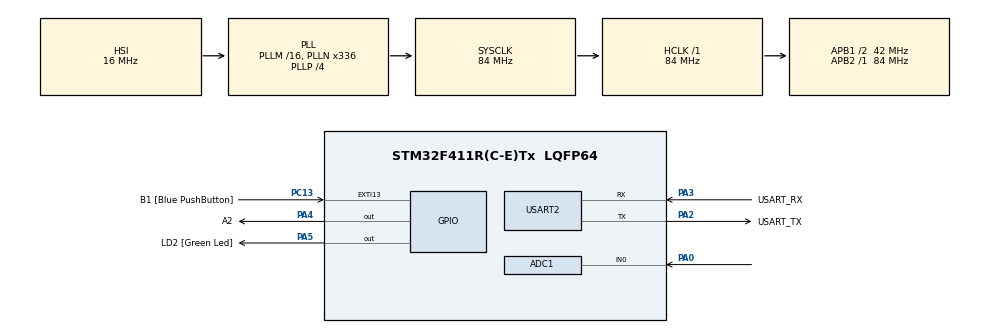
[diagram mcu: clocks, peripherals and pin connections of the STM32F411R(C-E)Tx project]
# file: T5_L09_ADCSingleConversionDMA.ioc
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ADC1.Channel-6\#ChannelRegularConversion=ADC_CHANNEL_0
ADC1.ClockPrescaler=ADC_CLOCK_SYNC_PCLK_DIV4
ADC1.ContinuousConvMode=DISABLE
ADC1.DMAContinuousRequests=ENABLE
ADC1.EOCSelection=ADC_EOC_SINGLE_CONV
ADC1.ExternalTrigConv=ADC_EXTERNALTRIGCONV_T2_TRGO
ADC1.NbrOfConversion=1
ADC1.NbrOfConversionFlag=1
ADC1.Rank-6\#ChannelRegularConversion=1
ADC1.Resolution=ADC_RESOLUTION_8B
ADC1.SamplingTime-6\#ChannelRegularConversion=ADC_SAMPLETIME_3CYCLES
ADC1.master=1
Dma.ADC1.0.Direction=DMA_PERIPH_TO_MEMORY
Dma.ADC1.0.FIFOMode=DMA_FIFOMODE_DISABLE
Dma.ADC1.0.Instance=DMA2_Stream0
Dma.ADC1.0.MemDataAlignment=DMA_MDATAALIGN_BYTE
Dma.ADC1.0.MemInc=DMA_MINC_ENABLE
Dma.ADC1.0.Mode=DMA_NORMAL
Dma.ADC1.0.PeriphDataAlignment=DMA_PDATAALIGN_BYTE
Dma.ADC1.0.PeriphInc=DMA_PINC_DISABLE
Dma.ADC1.0.Priority=DMA_PRIORITY_MEDIUM
Dma.Request0=ADC1
Dma.Request1=USART2_TX
Dma.USART2_TX.1.Direction=DMA_MEMORY_TO_PERIPH
Dma.USART2_TX.1.FIFOMode=DMA_FIFOMODE_DISABLE
Dma.USART2_TX.1.Instance=DMA1_Stream6
Dma.USART2_TX.1.MemDataAlignment=DMA_MDATAALIGN_BYTE
Dma.USART2_TX.1.MemInc=DMA_MINC_ENABLE
Dma.USART2_TX.1.Mode=DMA_NORMAL
Dma.USART2_TX.1.PeriphDataAlignment=DMA_PDATAALIGN_BYTE
Dma.USART2_TX.1.PeriphInc=DMA_PINC_DISABLE
Dma.USART2_TX.1.Priority=DMA_PRIORITY_LOW
Mcu.Family=STM32F4
Mcu.Name=STM32F411R(C-E)Tx
Mcu.Package=LQFP64
NVIC.DMA1_Stream6_IRQn=true\:0\:0\:false\:false\:true\:false\:true\:true
NVIC.DMA2_Stream0_IRQn=true\:0\:0\:false\:false\:true\:false\:true\:true
NVIC.PriorityGroup=NVIC_PRIORITYGROUP_0
PA0-WKUP.Signal=ADCx_IN0
PA13.GPIO_Label=TMS
PA13.Mode=Serial_Wire
PA13.Signal=SYS_JTMS-SWDIO
PA14.GPIO_Label=TCK
PA14.Mode=Serial_Wire
PA14.Signal=SYS_JTCK-SWCLK
PA2.GPIO_Label=USART_TX
PA2.Mode=Asynchronous
PA2.Signal=USART2_TX
PA3.GPIO_Label=USART_RX
PA3.Mode=Asynchronous
PA3.Signal=USART2_RX
PA4.GPIO_Label=A2
PA4.Signal=GPIO_Output
PA5.GPIO_Label=LD2 [Green Led]
PA5.Signal=GPIO_Output
PB3.GPIO_Label=SWO
PB3.Signal=SYS_JTDO-SWO
PC13-ANTI_TAMP.GPIO_Label=B1 [Blue PushButton]
PC13-ANTI_TAMP.GPIO_ModeDefaultEXTI=GPIO_MODE_IT_FALLING
PC13-ANTI_TAMP.Signal=GPXTI13
PC14-OSC32_IN.Mode=LSE-External-Oscillator
PC14-OSC32_IN.Signal=RCC_OSC32_IN
PC15-OSC32_OUT.Mode=LSE-External-Oscillator
PC15-OSC32_OUT.Signal=RCC_OSC32_OUT
PH0\ -\ OSC_IN.Mode=HSE-External-Clock-Source
PH0\ -\ OSC_IN.Signal=RCC_OSC_IN
PH1\ -\ OSC_OUT.Mode=HSE-External-Clock-Source
PH1\ -\ OSC_OUT.Signal=RCC_OSC_OUT
ProjectManager.HeapSize=0x200
ProjectManager.StackSize=0x400
ProjectManager.TargetToolchain=STM32CubeIDE
RCC.48MHZClocksFreq_Value=84000000
RCC.AHBFreq_Value=84000000
RCC.APB1CLKDivider=RCC_HCLK_DIV2
RCC.APB1Freq_Value=42000000
RCC.APB1TimFreq_Value=84000000
RCC.APB2Freq_Value=84000000
RCC.APB2TimFreq_Value=84000000
RCC.CortexFreq_Value=84000000
RCC.FLatency-AdvancedSettings=FLASH_LATENCY_2
RCC.HCLKFreq_Value=84000000
RCC.HSE_VALUE=8000000
RCC.HSI_VALUE=16000000
RCC.PLLN=336
RCC.PLLP=RCC_PLLP_DIV4
RCC.SYSCLKFreq_VALUE=84000000
RCC.SYSCLKSource=RCC_SYSCLKSOURCE_PLLCLK
RCC.VCOOutputFreq_Value=336000000
SH.ADCx_IN0.0=ADC1_IN0,IN0
TIM2.Period=634
TIM2.Prescaler=2
TIM2.TIM_MasterOutputTrigger=TIM_TRGO_UPDATE
TIM2.TIM_MasterSlaveMode=TIM_MASTERSLAVEMODE_DISABLE
USART2.VirtualMode=VM_ASYNC
VP_TIM2_VS_ClockSourceINT.Mode=Internal
board=NUCLEO-F411RE

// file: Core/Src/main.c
/* USER CODE BEGIN Header */
/**
  ******************************************************************************
  * @file           : main.c
  * @brief          : Main program body
  ******************************************************************************
  * @attention
  *
  * Copyright (c) 2022 STMicroelectronics.
  * All rights reserved.
  *
  * This software is licensed under terms that can be found in the LICENSE file
  * in the root directory of this software component.
  * If no LICENSE file comes with this software, it is provided AS-IS.
  *
  ******************************************************************************
  */
/* USER CODE END Header */
#include "main.h"
#include "adc.h"
#include "dma.h"
#include "tim.h"
#include "usart.h"
#include "gpio.h"

/* USER CODE BEGIN Includes */
#include <stdio.h>
#include "arm_math.h"
#include "ring_buffer.h"
/* USER CODE END Includes */

/* USER CODE BEGIN PTD */
#define FFT_SAMPLES 1024
/* USER CODE END PTD */

/* USER CODE BEGIN PV */
volatile uint8_t AdcValue[FFT_SAMPLES];

float FFTInBuffer[FFT_SAMPLES];
float FFTOutBuffer[FFT_SAMPLES];

arm_rfft_fast_instance_f32 FFTHandler;

volatile uint8_t SamplesReady;

uint8_t OutFreqArray[10];

static uint16_t i = 0;
/* transfer variables - comment when not used */
/*
RingBuffer_t buf_t;
static uint8_t size;
static uint8_t chartmp[8];
static uint16_t tmp = 0;
*/
/* USER CODE END PV */

void SystemClock_Config(void);
/* USER CODE BEGIN PFP */
float complexABS(float real, float compl);
void CalculateFFT(void);
/* USER CODE END PFP */

int main(void)
{

  /* MCU Configuration--------------------------------------------------------*/

  /* Reset of all peripherals, Initializes the Flash interface and the Systick. */
  HAL_Init();

  /* Configure the system clock */
  SystemClock_Config();

  /* Initialize all configured peripherals */
  MX_GPIO_Init();
  MX_DMA_Init();
  MX_ADC1_Init();
  MX_TIM2_Init();
  MX_USART2_UART_Init();
  /* USER CODE BEGIN 2 */

  if(HAL_OK != HAL_TIM_Base_Start(&htim2)) Error_Handler();
  if(HAL_OK != HAL_ADC_Start_DMA(&hadc1,(uint32_t*) AdcValue, FFT_SAMPLES) ) Error_Handler();
//  if(HAL_OK != HAL_UART_Transmit_DMA(&huart2,(uint8_t*) AdcValue, FFT_SAMPLES)) Error_Handler();

  arm_rfft_fast_init_f32(&FFTHandler, FFT_SAMPLES);
  /* USER CODE END 2 */

  /* Infinite loop */
  /* USER CODE BEGIN WHILE */
  while (1)
  {
	  /* comment here to turn off data transmit */
	  /*
	  if(0 != RB_Read(&buf_t,&tmp)) Error_Handler();
	  size = sprintf((char*)chartmp, "%i\n", tmp);
	  HAL_UART_Transmit_DMA(&huart2,chartmp,size);
	  */

	  if(SamplesReady == 1)
	  {
		  SamplesReady = 0;

		  for(uint32_t i = 0; i < FFT_SAMPLES; i++)
		  {
			  FFTInBuffer[i] =  (float)AdcValue[i];
		  }

		  CalculateFFT();

	  }

    /* USER CODE END WHILE */

  }
}

void SystemClock_Config(void)
{
  RCC_OscInitTypeDef RCC_OscInitStruct = {0};
  RCC_ClkInitTypeDef RCC_ClkInitStruct = {0};

  /** Configure the main internal regulator output voltage
  */
  __HAL_RCC_PWR_CLK_ENABLE();
  __HAL_PWR_VOLTAGESCALING_CONFIG(PWR_REGULATOR_VOLTAGE_SCALE1);

  /** Initializes the RCC Oscillators according to the specified parameters
  * in the RCC_OscInitTypeDef structure.
  */
  RCC_OscInitStruct.OscillatorType = RCC_OSCILLATORTYPE_HSI;
  RCC_OscInitStruct.HSIState = RCC_HSI_ON;
  RCC_OscInitStruct.HSICalibrationValue = RCC_HSICALIBRATION_DEFAULT;
  RCC_OscInitStruct.PLL.PLLState = RCC_PLL_ON;
  RCC_OscInitStruct.PLL.PLLSource = RCC_PLLSOURCE_HSI;
  RCC_OscInitStruct.PLL.PLLM = 16;
  RCC_OscInitStruct.PLL.PLLN = 336;
  RCC_OscInitStruct.PLL.PLLP = RCC_PLLP_DIV4;
  RCC_OscInitStruct.PLL.PLLQ = 4;
  if (HAL_RCC_OscConfig(&RCC_OscInitStruct) != HAL_OK)
  {
    Error_Handler();
  }

  /** Initializes the CPU, AHB and APB buses clocks
  */
  RCC_ClkInitStruct.ClockType = RCC_CLOCKTYPE_HCLK|RCC_CLOCKTYPE_SYSCLK
                              |RCC_CLOCKTYPE_PCLK1|RCC_CLOCKTYPE_PCLK2;
  RCC_ClkInitStruct.SYSCLKSource = RCC_SYSCLKSOURCE_PLLCLK;
  RCC_ClkInitStruct.AHBCLKDivider = RCC_SYSCLK_DIV1;
  RCC_ClkInitStruct.APB1CLKDivider = RCC_HCLK_DIV2;
  RCC_ClkInitStruct.APB2CLKDivider = RCC_HCLK_DIV1;

  if (HAL_RCC_ClockConfig(&RCC_ClkInitStruct, FLASH_LATENCY_2) != HAL_OK)
  {
    Error_Handler();
  }
}

/* USER CODE BEGIN 4 */

/*
void HAL_ADC_ConvCpltCallback(ADC_HandleTypeDef *hadc)
{
	static uint16_t i = 0;

	if(hadc->Instance == ADC1)
	{
		if(HAL_OK != HAL_ADC_Stop_DMA(&hadc1)) Error_Handler();

		for (uint32_t i = 0; i < FFT_SAMPLES; i++)
		{
			FFTInBuffer[i] = (float) AdcValue[i];
		}

		CalculateFFT();
	}
}
*/

void HAL_ADC_ConvHalfCpltCallback(ADC_HandleTypeDef* hadc)
{
	if(hadc->Instance == ADC1)
	{
		if(HAL_OK != HAL_UART_Transmit_DMA(&huart2,(uint8_t*) AdcValue, 512)) Error_Handler();
	}
}

void HAL_ADC_ConvCpltCallback(ADC_HandleTypeDef* hadc)
{
	if(hadc->Instance == ADC1)
	{
//		if(HAL_OK != HAL_UART_Transmit_DMA(&huart2,(uint8_t*) AdcValue, 512)) Error_Handler();
//		AdcValue[i] = HAL_ADC_GetValue(&hadc1);

		/* ring buffer used to transmit data - comment when not used */
		/*
		if(0 != RB_Write(&buf_t,AdcValue[i])) Error_Handler();
		*/
//		i++;
//		HAL_GPIO_TogglePin(A2_GPIO_Port,A2_Pin); //output for oscilloscope

		if(HAL_OK != HAL_ADC_Start_DMA(&hadc1,(uint32_t*)AdcValue, FFT_SAMPLES) ) Error_Handler();

		if(i == FFT_SAMPLES)
		{
			i = 0;
			SamplesReady = 1;
		}
	}
}

float complexABS(float real,float compl){
	return sqrtf(real*real+compl*compl);
}

void CalculateFFT(void)
{
	arm_rfft_fast_f32(&FFTHandler, FFTInBuffer, FFTOutBuffer, 0);

	int Freqs[FFT_SAMPLES] = {0};
	int FreqPoint = 0;
	int Offset = 45; //variable noise floor offset

	//calculate abs values and linear-to-dB
	for (int i = 0; i < FFT_SAMPLES; i = i + 2)
	{

		Freqs[FreqPoint] = (int)(20*log10f(complexABS(FFTOutBuffer[i], FFTOutBuffer[i+1]))) - Offset;

		if(Freqs[FreqPoint] < 0)
		{
			Freqs[FreqPoint] = 0;
		}
		FreqPoint++;

	}
//  for 1024 samples

	OutFreqArray[0] = (uint8_t)Freqs[1]; // 22 Hz
	OutFreqArray[1] = (uint8_t)Freqs[2]; // 63 Hz
	OutFreqArray[2] = (uint8_t)Freqs[3]; // 125 Hz
	OutFreqArray[3] = (uint8_t)Freqs[6]; // 250 Hz
	OutFreqArray[4] = (uint8_t)Freqs[12]; // 500 Hz
	OutFreqArray[5] = (uint8_t)Freqs[23]; // 1000 Hz
	OutFreqArray[6] = (uint8_t)Freqs[51]; // 2200 Hz
	OutFreqArray[7] = (uint8_t)Freqs[104]; // 4500 Hz
	OutFreqArray[8] = (uint8_t)Freqs[207]; // 9000 Hz
	OutFreqArray[9] = (uint8_t)Freqs[344]; // 15000 Hz

//  for 2048 samples
/*
	OutFreqArray[0] = (uint8_t)Freqs[2]; // 22 Hz
	OutFreqArray[1] = (uint8_t)Freqs[3]; // 63 Hz
	OutFreqArray[2] = (uint8_t)Freqs[6]; // 125 Hz
	OutFreqArray[3] = (uint8_t)Freqs[12]; // 250 Hz
	OutFreqArray[4] = (uint8_t)Freqs[23]; // 500 Hz
	OutFreqArray[5] = (uint8_t)Freqs[46]; // 1000 Hz
	OutFreqArray[6] = (uint8_t)Freqs[101]; // 2200 Hz
	OutFreqArray[7] = (uint8_t)Freqs[207]; // 4500 Hz
	OutFreqArray[8] = (uint8_t)Freqs[413]; // 9000 Hz
	OutFreqArray[9] = (uint8_t)Freqs[688]; // 15000 Hz
*/

}

/* USER CODE END 4 */

void Error_Handler(void)
{
  __disable_irq();
  while (1)
  {
  }
}
